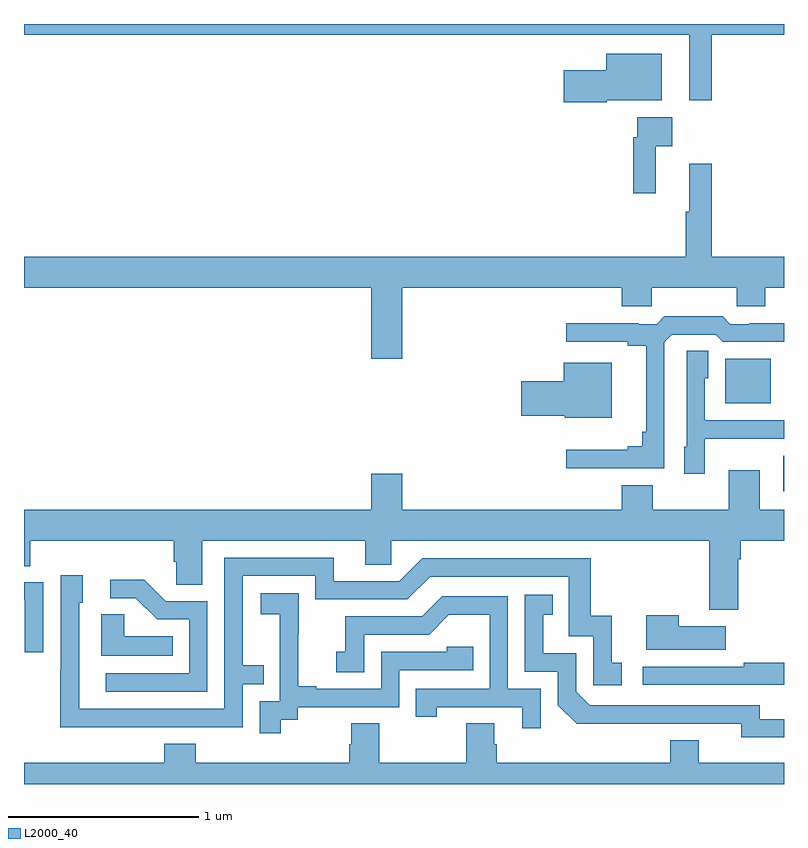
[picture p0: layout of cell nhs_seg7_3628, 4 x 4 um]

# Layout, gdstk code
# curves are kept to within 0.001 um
import gdstk
lib = gdstk.Library(unit=1e-6, precision=1e-09)
def R(c, l, rs):  # rectangles x0, y0, x1, y1
    for r in rs: c.add(gdstk.rectangle(r[:2], r[2:], *l))
def P(c, l, *ps):  # polygons
    for p in ps: c.add(gdstk.Polygon(p, *l))
L2000_40 = (2000, 40)

nhs_seg7_3628 = lib.new_cell('nhs_seg7_3628')
R(nhs_seg7_3628, L2000_40, [(346.997,1003.542,347,1003.728), (346.691,1004.003,346.93,1004.239)])
P(nhs_seg7_3628, L2000_40, [(343,1005.944),(346.502,1005.944),(346.502,1005.6),(346.619,1005.6),(346.619,1005.944),(347,1005.944),(347,1006),(343,1006)],
  [(346.068,1005.599),(346.357,1005.599),(346.357,1005.844),(346.064,1005.844),(346.064,1005.757),(345.84,1005.757),(345.84,1005.587),(346.068,1005.587)],
  [(346.325,1005.356),(346.411,1005.356),(346.411,1005.508),(346.227,1005.508),(346.227,1005.404),(346.207,1005.404),(346.207,1005.108),(346.325,1005.108)],
  [(344.992,1004.612),(346.145,1004.612),(346.145,1004.514),(346.305,1004.514),(346.305,1004.612),(346.75,1004.612),(346.75,1004.514),(346.9,1004.514),(346.9,1004.612),(347,1004.612),(347,1004.776),(346.619,1004.776),(346.619,1005.265),(346.502,1005.265),(346.502,1005.012),(346.483,1005.012),(346.483,1004.776),(343,1004.776),(343,1004.612),(344.828,1004.612),(344.828,1004.238),(344.992,1004.238)],
  [(346.371,1004.325),(346.41,1004.364),(346.641,1004.364),(346.677,1004.328),(347,1004.328),(347,1004.426),(346.816,1004.426),(346.816,1004.421),(346.716,1004.421),(346.677,1004.461),(346.369,1004.461),(346.329,1004.421),(346.235,1004.421),(346.235,1004.426),(345.855,1004.426),(345.855,1004.328),(346.178,1004.328),(346.178,1004.306),(346.274,1004.306),(346.274,1003.855),(346.255,1003.855),(346.255,1003.778),(346.178,1003.778),(346.178,1003.759),(345.855,1003.759),(345.855,1003.662),(346.371,1003.662)],
  [(346.584,1003.817),(346.901,1003.817),(346.901,1003.818),(347,1003.818),(347,1003.914),(346.584,1003.914),(346.584,1004.136),(346.6,1004.136),(346.6,1004.279),(346.488,1004.279),(346.488,1003.776),(346.475,1003.776),(346.475,1003.632),(346.584,1003.632)],
  [(346.093,1004.218),(345.842,1004.218),(345.842,1004.12),(345.618,1004.12),(345.618,1003.937),(345.846,1003.937),(345.846,1003.928),(346.093,1003.928)],
  [(346.759,1003.184),(346.772,1003.184),(346.772,1003.28),(347,1003.28),(347,1003.444),(346.873,1003.444),(346.873,1003.651),(346.709,1003.651),(346.709,1003.444),(346.309,1003.444),(346.309,1003.573),(346.145,1003.573),(346.145,1003.444),(344.992,1003.444),(344.992,1003.633),(344.828,1003.633),(344.828,1003.444),(343,1003.444),(343,1003.147),(343.034,1003.147),(343.034,1003.28),(343.787,1003.28),(343.787,1003.171),(343.8,1003.171),(343.8,1003.048),(343.939,1003.048),(343.939,1003.28),(344.795,1003.28),(344.795,1003.153),(344.934,1003.153),(344.934,1003.28),(346.607,1003.28),(346.607,1002.918),(346.759,1002.918)],
  [(343.655,1002.3),(344.151,1002.3),(344.151,1002.525),(344.261,1002.525),(344.261,1002.626),(344.151,1002.626),(344.151,1003.095),(344.532,1003.095),(344.532,1002.972),(345.018,1002.972),(345.138,1003.092),(345.867,1003.092),(345.867,1002.777),(345.996,1002.777),(345.996,1002.519),(346.147,1002.519),(346.147,1002.639),(346.094,1002.639),(346.094,1002.886),(345.983,1002.886),(345.983,1003.188),(345.096,1003.188),(344.976,1003.068),(344.629,1003.068),(344.629,1003.191),(344.055,1003.191),(344.055,1002.396),(343.29,1002.396),(343.29,1002.954),(343.309,1002.954),(343.309,1003.099),(343.194,1003.099),(343.194,1002.605),(343.192,1002.605),(343.192,1002.299)],
  [(343.965,1002.963),(343.746,1002.963),(343.633,1003.076),(343.455,1003.076),(343.455,1002.978),(343.589,1002.978),(343.7,1002.867),(343.869,1002.867),(343.869,1002.582),(343.431,1002.582),(343.431,1002.486),(343.965,1002.486)],
  [(343.101,1003.062),(343,1003.062),(343,1002.966),(343.005,1002.966),(343.005,1002.693),(343.101,1002.693)],
  [(344.35,1002.337),(344.442,1002.337),(344.442,1002.405),(344.976,1002.405),(344.976,1002.6),(345.365,1002.6),(345.365,1002.723),(345.225,1002.723),(345.225,1002.696),(344.88,1002.696),(344.88,1002.501),(344.539,1002.501),(344.539,1002.514),(344.444,1002.514),(344.444,1002.797),(344.445,1002.797),(344.445,1003.003),(344.247,1003.003),(344.247,1002.893),(344.345,1002.893),(344.345,1002.665),(344.346,1002.665),(344.346,1002.435),(344.241,1002.435),(344.241,1002.267),(344.35,1002.267)],
  [(347,1002.342),(346.872,1002.342),(346.872,1002.414),(345.978,1002.414),(345.906,1002.486),(345.906,1002.687),(345.733,1002.687),(345.733,1002.891),(345.782,1002.891),(345.782,1002.997),(345.636,1002.997),(345.636,1002.591),(345.81,1002.591),(345.81,1002.414),(345.908,1002.317),(346.776,1002.318),(346.776,1002.245),(347,1002.245)],
  [(345.72,1002.501),(345.546,1002.501),(345.546,1002.987),(345.2,1002.987),(345.095,1002.882),(344.692,1002.882),(344.692,1002.697),(344.643,1002.697),(344.643,1002.588),(344.79,1002.588),(344.79,1002.786),(345.132,1002.786),(345.236,1002.89),(345.45,1002.89),(345.45,1002.501),(345.061,1002.501),(345.061,1002.354),(345.172,1002.354),(345.172,1002.405),(345.623,1002.405),(345.623,1002.294),(345.72,1002.294)],
  [(343.784,1002.778),(343.527,1002.778),(343.527,1002.893),(343.406,1002.893),(343.406,1002.674),(343.784,1002.674)],
  [(346.693,1002.829),(346.445,1002.829),(346.445,1002.889),(346.274,1002.889),(346.274,1002.707),(346.693,1002.707)],
  [(347,1002.638),(346.789,1002.638),(346.789,1002.618),(346.257,1002.618),(346.257,1002.522),(347,1002.522)],
  [(347,1002.112),(346.552,1002.112),(346.552,1002.229),(346.4,1002.229),(346.4,1002.112),(345.488,1002.112),(345.488,1002.21),(345.475,1002.21),(345.475,1002.32),(345.328,1002.32),(345.328,1002.112),(344.871,1002.112),(344.871,1002.32),(344.723,1002.32),(344.723,1002.21),(344.711,1002.21),(344.711,1002.112),(343.904,1002.112),(343.904,1002.211),(343.739,1002.211),(343.739,1002.112),(343,1002.112),(343,1002),(347,1002)])

lib.write_gds('nhs_seg7_3628.gds')
